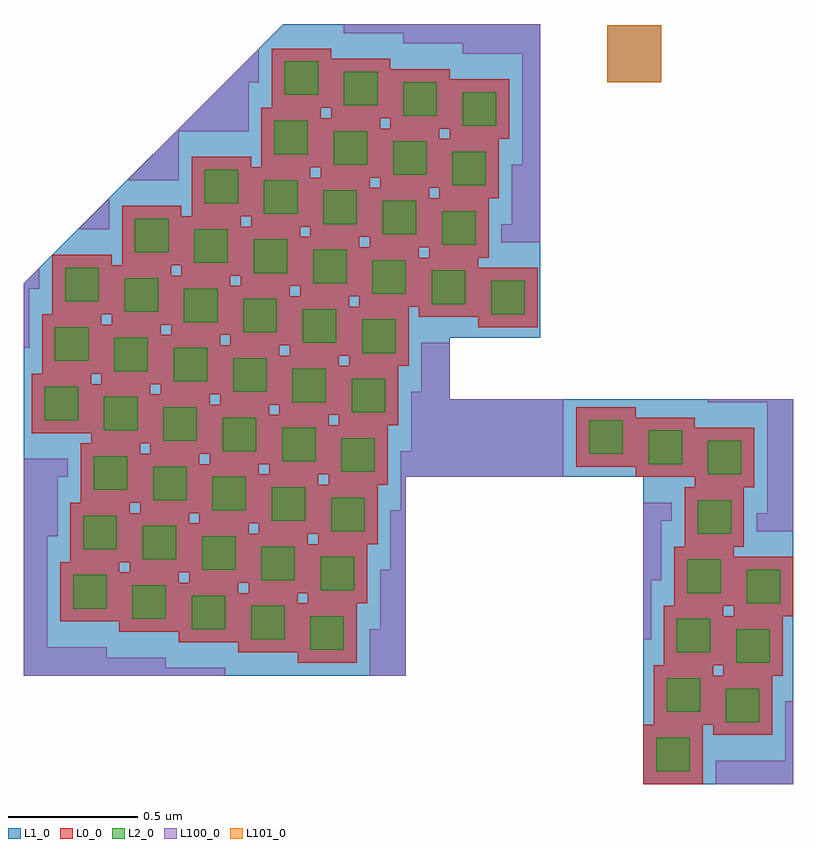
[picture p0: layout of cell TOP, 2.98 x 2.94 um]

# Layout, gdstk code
import gdstk
lib = gdstk.Library(unit=1e-6, precision=1e-09)
def R(c, l, rs):  # rectangles x0, y0, x1, y1
    for r in rs: c.add(gdstk.rectangle(r[:2], r[2:], *l))
def P(c, l, *ps):  # polygons
    for p in ps: c.add(gdstk.Polygon(p, *l))
L0_0 = (0, 0)
L1_0 = (1, 0)
L2_0 = (2, 0)
L100_0 = (100, 0)
L101_0 = (101, 0)

fill_cell = lib.new_cell('FILL_CELL')
R(fill_cell, L0_0, [(-0.1,-0.13,0.13,0.1)])
R(fill_cell, L2_0, [(-0.05,-0.08,0.08,0.05)])

top = lib.new_cell('TOP')
R(top, L1_0, [(1.76,1.79,1.97,2.01)])
P(top, L1_0, [(1.9,-0.93),(1.9,0.26),(0.98,0.26),(0.98,-0.51),(-0.5,-0.51),(-0.5,1.01),(0.505,2.015),(1.5,2.015),(1.5,0.8),(1.15,0.8),(1.15,0.56),(2.48,0.56),(2.48,-0.93)])
P(top, L100_0, [(2.18,-0.93),(2.18,-0.84),(2.45,-0.84),(2.45,-0.61),(2.48,-0.61),(2.48,-0.93)],
  [(1.9,-0.37),(1.9,0.16),(2.01,0.16),(2.01,0.09),(1.97,0.09),(1.97,-0.14),(1.93,-0.14),(1.93,-0.37)],
  [(-0.5,-0.51),(-0.5,0.33),(-0.33,0.33),(-0.33,0.26),(-0.37,0.26),(-0.37,0.03),(-0.41,0.03),(-0.41,-0.4),(-0.18,-0.4),(-0.18,-0.44),(0.05,-0.44),(0.05,-0.48),(0.28,-0.48),(0.28,-0.51)],
  [(2.34,0.05),(2.34,0.12),(2.38,0.12),(2.38,0.55),(2.15,0.55),(2.15,0.56),(2.48,0.56),(2.48,0.05)],
  [(0.84,-0.51),(0.84,-0.33),(0.88,-0.33),(0.88,-0.1),(0.92,-0.1),(0.92,0.13),(0.96,0.13),(0.96,0.36),(1,0.36),(1,0.59),(1.04,0.59),(1.04,0.78),(1.15,0.78),(1.15,0.56),(1.59,0.56),(1.59,0.26),(0.98,0.26),(0.98,-0.51)],
  [(-0.5,0.76),(-0.5,1.01),(-0.44,1.07),(-0.44,0.99),(-0.48,0.99),(-0.48,0.76)],
  [(-0.29,1.22),(-0.17,1.34),(-0.17,1.22)],
  [(-0.1,1.41),(0.41,1.92),(0.41,1.79),(0.37,1.79),(0.37,1.6),(0.1,1.6),(0.1,1.41)],
  [(1.35,1.17),(1.35,1.24),(1.39,1.24),(1.39,1.47),(1.43,1.47),(1.43,1.9),(1.2,1.9),(1.2,1.94),(0.97,1.94),(0.97,1.98),(0.74,1.98),(0.74,2.015),(1.5,2.015),(1.5,1.17)])
R(top, L101_0, [(1.76,1.79,1.97,2.01)])
top.add(gdstk.Reference(fill_cell, (2,-0.8)))
top.add(gdstk.Reference(fill_cell, (2.04,-0.57)))
top.add(gdstk.Reference(fill_cell, (2.27,-0.61)))
top.add(gdstk.Reference(fill_cell, (2.08,-0.34)))
top.add(gdstk.Reference(fill_cell, (2.31,-0.38)))
top.add(gdstk.Reference(fill_cell, (2.12,-0.11)))
top.add(gdstk.Reference(fill_cell, (2.35,-0.15)))
top.add(gdstk.Reference(fill_cell, (2.16,0.12)))
top.add(gdstk.Reference(fill_cell, (2.2,0.35)))
top.add(gdstk.Reference(fill_cell, (-0.26,-0.17)))
top.add(gdstk.Reference(fill_cell, (-0.03,-0.21)))
top.add(gdstk.Reference(fill_cell, (0.2,-0.25)))
top.add(gdstk.Reference(fill_cell, (0.43,-0.29)))
top.add(gdstk.Reference(fill_cell, (0.66,-0.33)))
top.add(gdstk.Reference(fill_cell, (-0.22,0.06)))
top.add(gdstk.Reference(fill_cell, (0.01,0.02)))
top.add(gdstk.Reference(fill_cell, (0.24,-0.02)))
top.add(gdstk.Reference(fill_cell, (0.47,-0.06)))
top.add(gdstk.Reference(fill_cell, (0.7,-0.1)))
top.add(gdstk.Reference(fill_cell, (-0.18,0.29)))
top.add(gdstk.Reference(fill_cell, (0.05,0.25)))
top.add(gdstk.Reference(fill_cell, (0.28,0.21)))
top.add(gdstk.Reference(fill_cell, (0.51,0.17)))
top.add(gdstk.Reference(fill_cell, (0.74,0.13)))
top.add(gdstk.Reference(fill_cell, (-0.37,0.56)))
top.add(gdstk.Reference(fill_cell, (-0.14,0.52)))
top.add(gdstk.Reference(fill_cell, (0.09,0.48)))
top.add(gdstk.Reference(fill_cell, (0.32,0.44)))
top.add(gdstk.Reference(fill_cell, (0.55,0.4)))
top.add(gdstk.Reference(fill_cell, (0.78,0.36)))
top.add(gdstk.Reference(fill_cell, (-0.33,0.79)))
top.add(gdstk.Reference(fill_cell, (-0.1,0.75)))
top.add(gdstk.Reference(fill_cell, (0.13,0.71)))
top.add(gdstk.Reference(fill_cell, (0.36,0.67)))
top.add(gdstk.Reference(fill_cell, (0.59,0.63)))
top.add(gdstk.Reference(fill_cell, (0.82,0.59)))
top.add(gdstk.Reference(fill_cell, (1.74,0.43)))
top.add(gdstk.Reference(fill_cell, (1.97,0.39)))
top.add(gdstk.Reference(fill_cell, (-0.29,1.02)))
top.add(gdstk.Reference(fill_cell, (-0.06,0.98)))
top.add(gdstk.Reference(fill_cell, (0.17,0.94)))
top.add(gdstk.Reference(fill_cell, (0.4,0.9)))
top.add(gdstk.Reference(fill_cell, (0.63,0.86)))
top.add(gdstk.Reference(fill_cell, (0.86,0.82)))
top.add(gdstk.Reference(fill_cell, (-0.02,1.21)))
top.add(gdstk.Reference(fill_cell, (0.21,1.17)))
top.add(gdstk.Reference(fill_cell, (0.44,1.13)))
top.add(gdstk.Reference(fill_cell, (0.67,1.09)))
top.add(gdstk.Reference(fill_cell, (0.9,1.05)))
top.add(gdstk.Reference(fill_cell, (1.13,1.01)))
top.add(gdstk.Reference(fill_cell, (1.36,0.97)))
top.add(gdstk.Reference(fill_cell, (0.25,1.4)))
top.add(gdstk.Reference(fill_cell, (0.48,1.36)))
top.add(gdstk.Reference(fill_cell, (0.71,1.32)))
top.add(gdstk.Reference(fill_cell, (0.94,1.28)))
top.add(gdstk.Reference(fill_cell, (1.17,1.24)))
top.add(gdstk.Reference(fill_cell, (0.52,1.59)))
top.add(gdstk.Reference(fill_cell, (0.75,1.55)))
top.add(gdstk.Reference(fill_cell, (0.98,1.51)))
top.add(gdstk.Reference(fill_cell, (1.21,1.47)))
top.add(gdstk.Reference(fill_cell, (0.56,1.82)))
top.add(gdstk.Reference(fill_cell, (0.79,1.78)))
top.add(gdstk.Reference(fill_cell, (1.02,1.74)))
top.add(gdstk.Reference(fill_cell, (1.25,1.7)))

lib.write_gds('TOP.gds')
